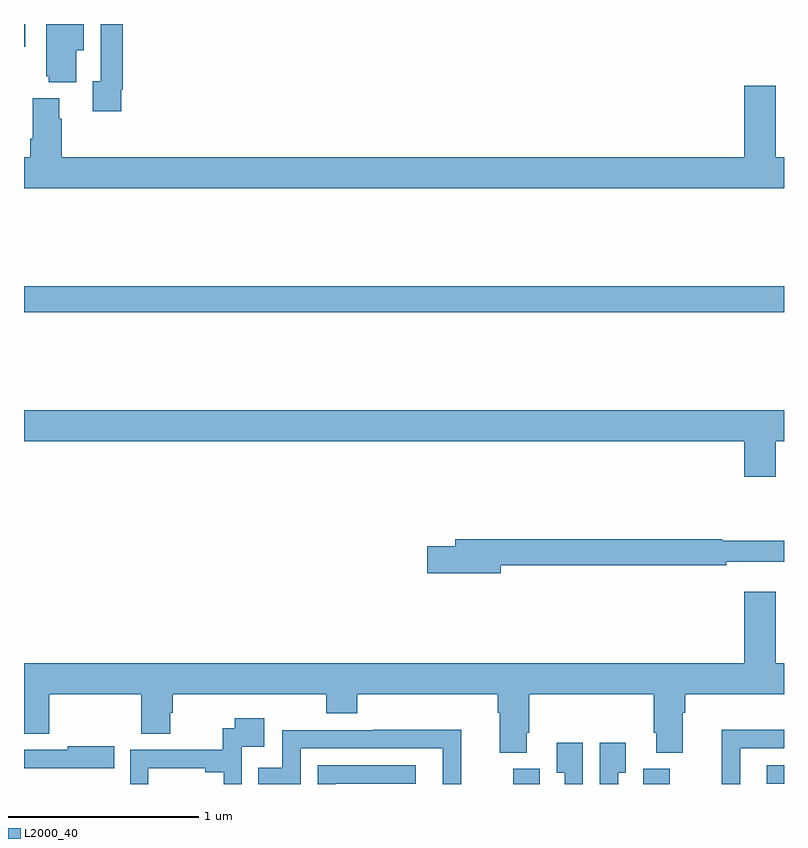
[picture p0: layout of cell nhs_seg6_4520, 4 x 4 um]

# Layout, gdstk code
import gdstk
lib = gdstk.Library(unit=1e-6, precision=1e-09)
def R(c, l, rs):  # rectangles x0, y0, x1, y1
    for r in rs: c.add(gdstk.rectangle(r[:2], r[2:], *l))
def P(c, l, *ps):  # polygons
    for p in ps: c.add(gdstk.Polygon(p, *l))
L2000_40 = (2000, 40)

nhs_seg6_4520 = lib.new_cell('nhs_seg6_4520')
R(nhs_seg6_4520, L2000_40, [(379.574,977.5,379.714,977.58), (380.258,977.5,380.398,977.58), (380.91,977.502,381,977.598), (377,979.984,381,980.12), (377,981.381,377.007,981.5)])
P(nhs_seg6_4520, L2000_40, [(377.512,981.154),(377.519,981.154),(377.519,981.5),(377.403,981.5),(377.403,981.198),(377.363,981.198),(377.363,981.042),(377.512,981.042)],
  [(377.275,981.362),(377.314,981.362),(377.314,981.5),(377.117,981.5),(377.117,981.225),(377.129,981.225),(377.129,981.194),(377.275,981.194)],
  [(381,980.8),(380.956,980.8),(380.956,981.175),(380.792,981.175),(380.792,980.8),(377.198,980.8),(377.198,981.002),(377.185,981.002),(377.185,981.109),(377.045,981.109),(377.045,980.896),(377.033,980.896),(377.033,980.8),(377,980.8),(377,980.636),(381,980.636)],
  [(380.956,979.304),(381,979.304),(381,979.468),(377,979.468),(377,979.304),(380.792,979.304),(380.792,979.116),(380.956,979.116)],
  [(379.51,978.652),(380.696,978.652),(380.696,978.671),(381,978.671),(381,978.781),(380.675,978.781),(380.675,978.788),(379.271,978.788),(379.271,978.752),(379.122,978.752),(379.122,978.61),(379.51,978.61)],
  [(379.645,977.77),(379.658,977.77),(379.658,977.972),(380.315,977.972),(380.315,977.77),(380.327,977.77),(380.327,977.665),(380.467,977.665),(380.467,977.876),(380.48,977.876),(380.48,977.972),(381,977.972),(381,978.136),(380.956,978.136),(380.956,978.511),(380.792,978.511),(380.792,978.136),(377,978.136),(377,977.764),(377.132,977.764),(377.132,977.972),(377.618,977.972),(377.618,977.764),(377.77,977.764),(377.77,977.874),(377.783,977.874),(377.783,977.972),(378.59,977.972),(378.59,977.873),(378.755,977.873),(378.755,977.972),(379.493,977.972),(379.493,977.876),(379.505,977.876),(379.505,977.665),(379.645,977.665)],
  [(377.655,977.583),(377.954,977.583),(377.954,977.563),(378.05,977.563),(378.05,977.5),(378.147,977.5),(378.147,977.697),(378.265,977.697),(378.265,977.845),(378.109,977.845),(378.109,977.793),(378.046,977.793),(378.046,977.679),(377.559,977.679),(377.559,977.5),(377.655,977.5)],
  [(380.769,977.688),(381,977.688),(381,977.786),(380.672,977.786),(380.672,977.5),(380.769,977.5)],
  [(378.456,977.688),(379.203,977.688),(379.203,977.5),(379.301,977.5),(379.301,977.786),(378.838,977.786),(378.838,977.784),(378.36,977.784),(378.36,977.586),(378.232,977.586),(378.232,977.5),(378.456,977.5)],
  [(379.941,977.716),(379.805,977.716),(379.805,977.56),(379.845,977.56),(379.845,977.5),(379.941,977.5)],
  [(380.127,977.56),(380.167,977.56),(380.167,977.716),(380.031,977.716),(380.031,977.5),(380.127,977.5)],
  [(377.474,977.698),(377.231,977.698),(377.231,977.679),(377,977.679),(377,977.583),(377.474,977.583)],
  [(378.642,977.502),(379.063,977.502),(379.063,977.598),(378.546,977.598),(378.546,977.5),(378.642,977.5)])

lib.write_gds('nhs_seg6_4520.gds')
